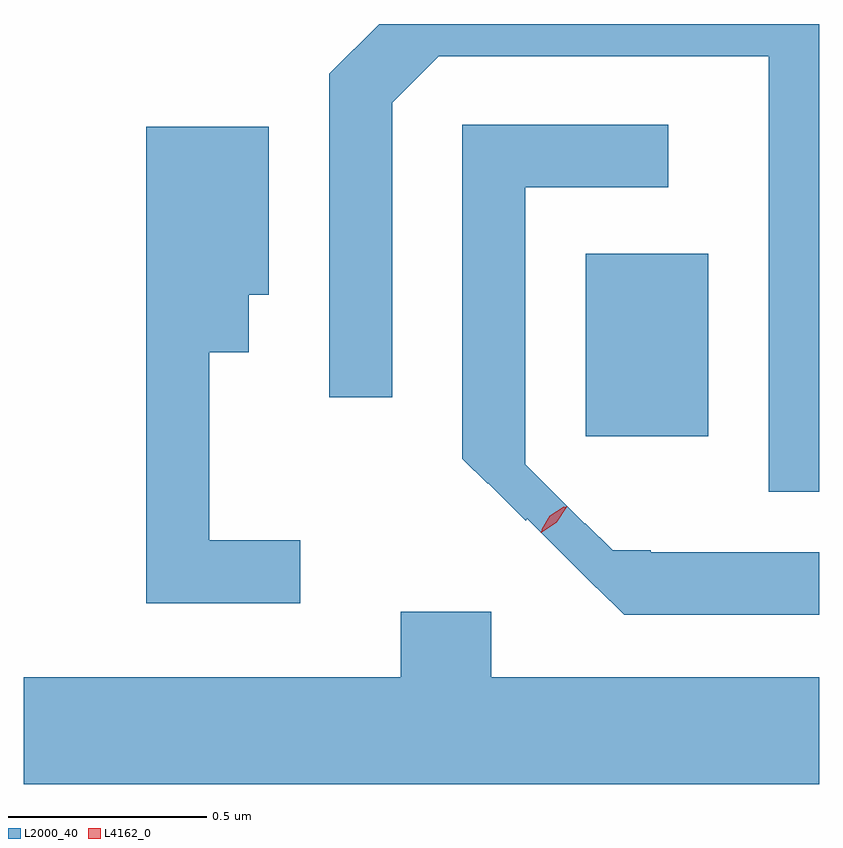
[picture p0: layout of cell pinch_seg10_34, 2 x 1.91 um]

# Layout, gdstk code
import gdstk
lib = gdstk.Library(unit=1e-6, precision=1e-09)
def R(c, l, rs):  # rectangles x0, y0, x1, y1
    for r in rs: c.add(gdstk.rectangle(r[:2], r[2:], *l))
def P(c, l, *ps):  # polygons
    for p in ps: c.add(gdstk.Polygon(p, *l))
L2000_40 = (2000, 40)
L4162_0 = (4162, 0)

pinch_seg10_34 = lib.new_cell('pinch_seg10_34')
R(pinch_seg10_34, L2000_40, [(600.451,2165.851,600.759,2166.309)])
P(pinch_seg10_34, L2000_40, [(601.038,2166.887),(599.932,2166.887),(599.806,2166.762),(599.806,2165.948),(599.964,2165.948),(599.964,2166.689),(600.082,2166.806),(600.911,2166.806),(600.911,2165.711),(601.038,2165.711)],
  [(601.038,2165.559),(600.615,2165.559),(600.615,2165.564),(600.519,2165.564),(600.45,2165.632),(600.449,2165.63),(600.299,2165.78),(600.299,2166.476),(600.658,2166.476),(600.658,2166.634),(600.141,2166.634),(600.141,2165.794),(600.204,2165.731),(600.205,2165.733),(600.3,2165.638),(600.304,2165.643),(600.477,2165.47),(600.478,2165.471),(600.548,2165.401),(601.038,2165.401)],
  [(599.733,2165.589),(599.504,2165.589),(599.504,2166.061),(599.604,2166.061),(599.604,2166.206),(599.654,2166.206),(599.654,2166.629),(599.346,2166.629),(599.346,2165.431),(599.733,2165.431)],
  [(601.038,2165.244),(600.214,2165.244),(600.214,2165.409),(599.986,2165.409),(599.986,2165.244),(599.038,2165.244),(599.038,2164.976),(601.038,2164.976)])
P(pinch_seg10_34, L4162_0, [(600.338,2165.608),(600.338,2165.609),(600.364,2165.649),(600.403,2165.675),(600.404,2165.675),(600.404,2165.674),(600.378,2165.634),(600.339,2165.608)],
  [(600.34,2165.615),(600.34,2165.616),(600.361,2165.651),(600.396,2165.673),(600.397,2165.673),(600.397,2165.672),(600.376,2165.637),(600.341,2165.615)])

lib.write_gds('pinch_seg10_34.gds')
